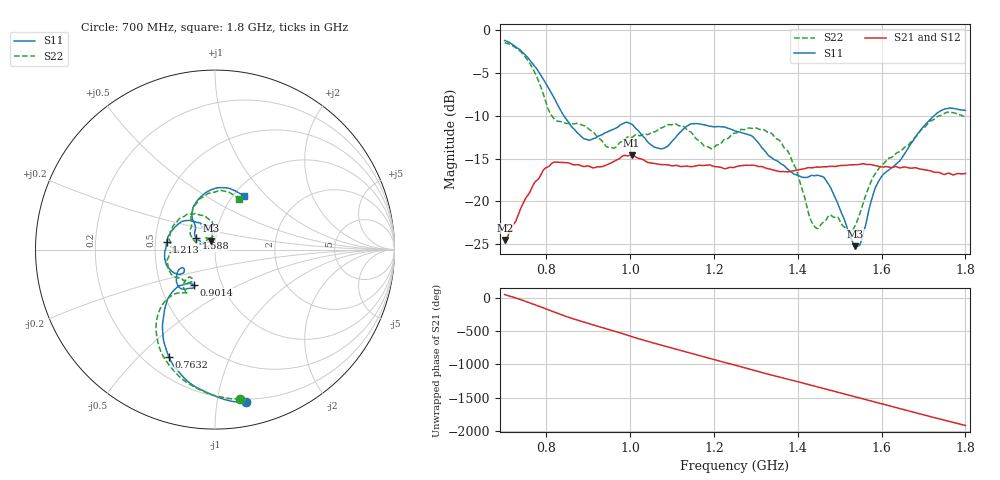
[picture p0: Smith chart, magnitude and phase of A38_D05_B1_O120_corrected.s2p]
! Created with skrf 1.9.0 (http://scikit-rf.org).
# Hz S RI R 50.0
!freq ReS11 ImS11 ReS21 ImS21 ReS12 ImS12 ReS22 ImS22
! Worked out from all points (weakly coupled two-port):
!   1601 points, 700 MHz to 1.8 GHz, reference 50 ohm
!   highest |S21| = -14.57 dB at 1.003 GHz (marker M1); lowest = -24.5 dB at 700.7 MHz (marker M2)
!   lowest |S11| = -25.2 dB at 1.537 GHz (marker M3), VSWR 1.12, Z = 47.5 + j4.71 ohm
!   |S11| at or under -10 dB: 841.2 MHz to 1.725 GHz (884.1 MHz wide, 68.9 % of centre)
!   |S22| runs from -23.7 to -1.5 dB; largest |S21 - S12| = 0.0034
!   S11 on the Smith chart (normalised r, x): 700 MHz: 0.17, -1.21; 763.2 MHz: 0.30, -0.62; 901.4 MHz: 0.74, -0.30; 1.213 GHz: 0.57, +0.05; 1.588 GHz: 0.80, +0.11; 1.8 GHz: 1.12, +0.76
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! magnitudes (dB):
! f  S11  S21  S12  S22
! 700 MHz  -1.2  -24.5  -24.3  -1.5
! 700.7 MHz  -1.2  -24.5  -24.2  -1.5
! 763.2 MHz  -3.7  -18.6  -18.6  -4.2
! 816.2 MHz  -7.7  -15.5  -15.6  -10.2
! 883.6 MHz  -12.4  -15.9  -15.8  -11.1
! 901.4 MHz  -12.9  -15.9  -15.9  -11.6
! 948.9 MHz  -11.8  -15.6  -15.6  -13.7
! 1.003 GHz  -11.0  -14.6  -14.7  -12.5
! 1.067 GHz  -13.8  -15.7  -15.6  -11.6
! 1.144 GHz  -11.0  -15.9  -15.9  -11.9
! 1.213 GHz  -11.3  -16.0  -16.0  -13.4
! 1.25 GHz  -11.8  -16.0  -15.9  -12.0
! 1.357 GHz  -15.5  -16.5  -16.5  -12.9
! 1.396 GHz  -16.9  -16.4  -16.4  -16.2
! 1.434 GHz  -17.0  -16.1  -16.0  -22.5
! 1.472 GHz  -17.9  -15.9  -15.9  -21.8
! 1.537 GHz  -25.2  -15.7  -15.7  -22.8
! 1.551 GHz  -24.6  -15.6  -15.7  -21.0
! 1.588 GHz  -18.1  -15.9  -15.9  -16.5
! 1.617 GHz  -16.3  -16.0  -16.0  -15.0
! 1.732 GHz  -9.7  -16.6  -16.6  -10.1
! 1.8 GHz  -9.4  -16.7  -16.7  -10.1
